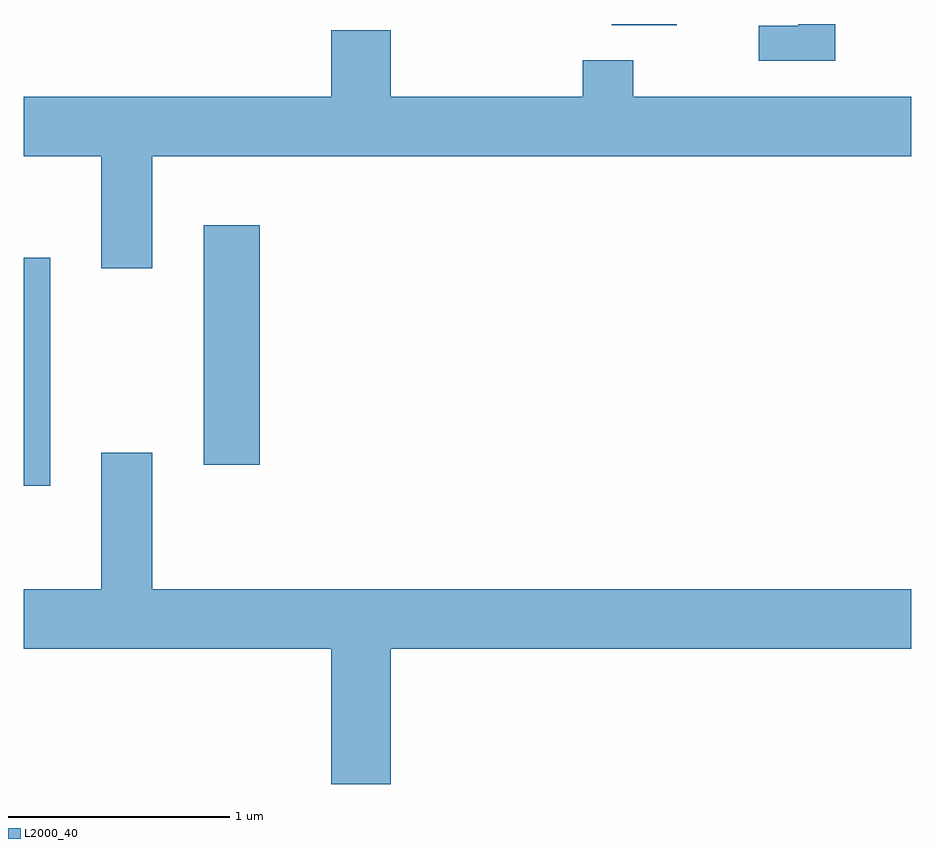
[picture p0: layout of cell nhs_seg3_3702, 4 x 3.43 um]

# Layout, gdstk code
import gdstk
lib = gdstk.Library(unit=1e-6, precision=1e-09)
def R(c, l, rs):  # rectangles x0, y0, x1, y1
    for r in rs: c.add(gdstk.rectangle(r[:2], r[2:], *l))
def P(c, l, *ps):  # polygons
    for p in ps: c.add(gdstk.Polygon(p, *l))
L2000_40 = (2000, 40)

nhs_seg3_3702 = lib.new_cell('nhs_seg3_3702')
R(nhs_seg3_3702, L2000_40, [(293.611,1177.811,293.729,1178.839), (294.421,1177.906,294.674,1178.984), (296.261,1179.886,296.554,1179.892)])
P(nhs_seg3_3702, L2000_40, [(297.269,1179.892),(297.101,1179.892),(297.101,1179.884),(296.923,1179.884),(296.923,1179.726),(297.269,1179.726)],
  [(294.189,1179.296),(297.611,1179.296),(297.611,1179.564),(296.359,1179.564),(296.359,1179.729),(296.131,1179.729),(296.131,1179.564),(295.264,1179.564),(295.264,1179.864),(294.996,1179.864),(294.996,1179.564),(293.611,1179.564),(293.611,1179.296),(293.961,1179.296),(293.961,1178.791),(294.189,1178.791)],
  [(295.264,1177.076),(297.611,1177.076),(297.611,1177.344),(294.189,1177.344),(294.189,1177.959),(293.961,1177.959),(293.961,1177.344),(293.611,1177.344),(293.611,1177.076),(294.996,1177.076),(294.996,1176.466),(295.264,1176.466)])

lib.write_gds('nhs_seg3_3702.gds')
